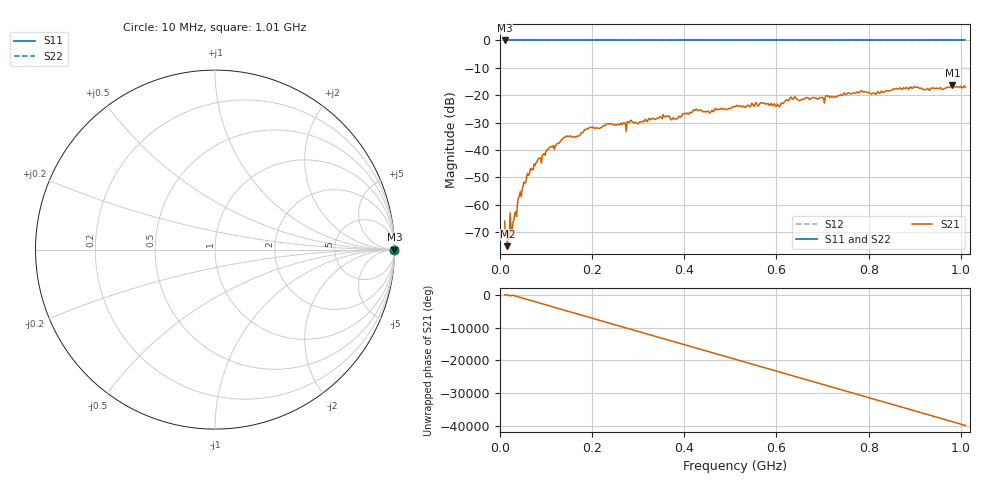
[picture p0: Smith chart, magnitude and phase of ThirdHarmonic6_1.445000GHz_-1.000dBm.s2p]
! 8/16/2025 4:43:56 PM
! C:\ANRITSUVNA\TEMP\TEMP.S2P
! CHANNEL.1
! TR.MEASUREMENT
! RAW.DATA
! RF.CORRECTION.OFF
! AVERAGING.OFF
! IF.BANDWIDTH: 5KHZ
! SWEEPTYPE:  FREQ.SWEEP(Linear)
! Reference Plane Port Info
! PORT:  PORT1  PORT2
! DISTANCE:  0  m  0  m
! TIME:  0  s  0  s
! PHASE.OFFSET:  0  deg.  0  deg.
! LOSS:  0  dB  0  dB
! REF.LOSS:  0  dB  0  dB
! REF.FREQ:  0  Hz  0  Hz
! Power Info
! POWER:  -20  dBm  -20  dBm
! EFF.POWER:  -20  dBm  -20  dBm
! SOURCE.ATTEN:  0  dB  0  dB
! TEST.ATTEN:  0  dB  0  dB
# GHZ S RI R 50.0
! FREQ.GHZ  S11RE  S11IM  S21RE  S21IM  S12RE  S12IM  S22RE  S22IM
!; PortSelection: Port_12
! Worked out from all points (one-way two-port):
!   501 points, 10 MHz to 1.01 GHz, reference 50 ohm
!   highest |S21| = -16.46 dB at 982 MHz (marker M1); lowest = -75.2 dB at 16 MHz (marker M2)
!   lowest |S11| = 0.0 dB at 10 MHz (marker M3)
!   |S11| at or under -10 dB: nowhere
!   |S22| runs from 0.0 to 0.0 dB; largest |S21 - S12| = 1.1
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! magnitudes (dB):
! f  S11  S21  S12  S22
! 10 MHz  0.0  -66.0  0.0  0.0
! 16 MHz  0.0  -75.2  0.0  0.0
! 28 MHz  0.0  -66.5  0.0  0.0
! 42 MHz  0.0  -56.7  0.0  0.0
! 56 MHz  0.0  -51.8  0.0  0.0
! 82 MHz  0.0  -43.6  0.0  0.0
! 142 MHz  0.0  -35.4  0.0  0.0
! 178 MHz  0.0  -33.7  0.0  0.0
! 234 MHz  0.0  -30.4  0.0  0.0
! 270 MHz  0.0  -30.1  0.0  0.0
! 344 MHz  0.0  -28.4  0.0  0.0
! 382 MHz  0.0  -28.7  0.0  0.0
! 424 MHz  0.0  -25.5  0.0  0.0
! 458 MHz  0.0  -26.0  0.0  0.0
! 510 MHz  0.0  -24.3  0.0  0.0
! 570 MHz  0.0  -23.0  0.0  0.0
! 602 MHz  0.0  -23.3  0.0  0.0
! 634 MHz  0.0  -21.3  0.0  0.0
! 678 MHz  0.0  -21.0  0.0  0.0
! 844 MHz  0.0  -18.5  0.0  0.0
! 982 MHz  0.0  -16.5  0.0  0.0
! 1.01 GHz  0.0  -17.2  0.0  0.0
